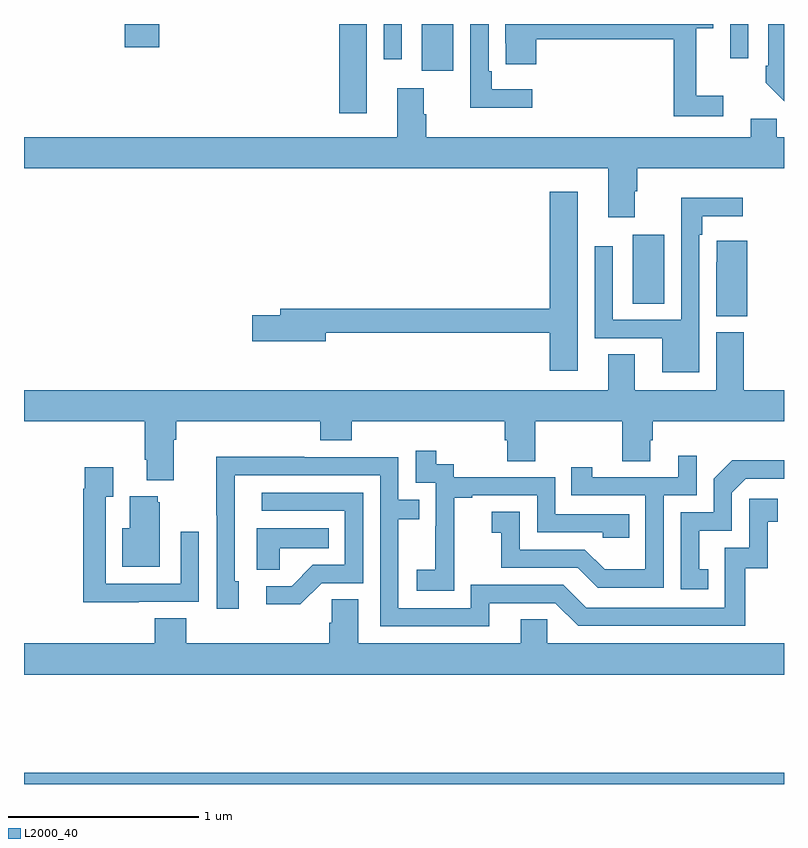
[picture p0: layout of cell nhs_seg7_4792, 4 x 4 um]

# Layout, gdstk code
import gdstk
lib = gdstk.Library(unit=1e-6, precision=1e-09)
def R(c, l, rs):  # rectangles x0, y0, x1, y1
    for r in rs: c.add(gdstk.rectangle(r[:2], r[2:], *l))
def P(c, l, *ps):  # polygons
    for p in ps: c.add(gdstk.Polygon(p, *l))
L2000_40 = (2000, 40)

nhs_seg7_4792 = lib.new_cell('nhs_seg7_4792')
R(nhs_seg7_4792, L2000_40, [(411,1040,415,1040.06), (414.203,1042.528,414.37,1042.891), (412.658,1043.529,412.804,1044), (413.093,1043.754,413.26,1044), (412.893,1043.814,412.989,1044), (414.717,1043.82,414.813,1044), (411.53,1043.877,411.713,1044)])
P(nhs_seg7_4792, L2000_40, [(414.679,1043.623),(414.539,1043.623),(414.539,1043.978),(414.628,1043.978),(414.628,1044),(413.534,1044),(413.534,1043.899),(413.535,1043.899),(413.535,1043.787),(413.696,1043.787),(413.696,1043.92),(414.421,1043.92),(414.421,1043.514),(414.679,1043.514)],
  [(413.674,1043.656),(413.461,1043.656),(413.461,1043.752),(413.445,1043.752),(413.445,1044),(413.349,1044),(413.349,1043.558),(413.674,1043.558)],
  [(415,1044),(414.918,1044),(414.918,1043.779),(414.903,1043.779),(414.903,1043.691),(415,1043.594)],
  [(414.214,1043.12),(414.227,1043.12),(414.227,1043.24),(415,1043.24),(415,1043.404),(414.963,1043.404),(414.963,1043.502),(414.824,1043.502),(414.824,1043.404),(413.117,1043.404),(413.117,1043.525),(413.104,1043.525),(413.104,1043.662),(412.964,1043.662),(412.964,1043.404),(411,1043.404),(411,1043.24),(414.074,1043.24),(414.074,1042.983),(414.214,1042.983)],
  [(413.914,1043.116),(413.768,1043.116),(413.768,1042.502),(412.349,1042.502),(412.349,1042.466),(412.2,1042.466),(412.2,1042.331),(412.588,1042.331),(412.588,1042.374),(413.768,1042.374),(413.768,1042.176),(413.914,1042.176)],
  [(414.555,1042.892),(414.571,1042.892),(414.571,1042.988),(414.784,1042.988),(414.784,1043.086),(414.459,1043.086),(414.459,1042.443),(414.099,1042.443),(414.099,1042.831),(414.003,1042.831),(414.003,1042.347),(414.359,1042.347),(414.359,1042.166),(414.555,1042.166)],
  [(414.806,1042.858),(414.645,1042.858),(414.645,1042.745),(414.644,1042.745),(414.644,1042.462),(414.806,1042.462)],
  [(411.787,1041.812),(411.8,1041.812),(411.8,1041.908),(412.559,1041.908),(412.559,1041.809),(412.724,1041.809),(412.724,1041.908),(413.531,1041.908),(413.531,1041.81),(413.543,1041.81),(413.543,1041.7),(413.691,1041.7),(413.691,1041.908),(414.148,1041.908),(414.148,1041.7),(414.295,1041.7),(414.295,1041.81),(414.308,1041.81),(414.308,1041.908),(415,1041.908),(415,1042.072),(414.788,1042.072),(414.788,1042.377),(414.644,1042.377),(414.644,1042.072),(414.214,1042.072),(414.214,1042.262),(414.074,1042.262),(414.074,1042.072),(411,1042.072),(411,1041.908),(411.635,1041.908),(411.635,1041.706),(411.647,1041.706),(411.647,1041.599),(411.787,1041.599)],
  [(413.265,1041.223),(413.264,1041.223),(413.264,1041.507),(413.359,1041.507),(413.359,1041.519),(413.7,1041.519),(413.7,1041.324),(414.045,1041.324),(414.045,1041.297),(414.185,1041.297),(414.185,1041.42),(413.796,1041.42),(413.796,1041.615),(413.262,1041.615),(413.262,1041.684),(413.17,1041.684),(413.17,1041.754),(413.061,1041.754),(413.061,1041.585),(413.166,1041.585),(413.166,1041.356),(413.165,1041.356),(413.165,1041.127),(413.067,1041.127),(413.067,1041.017),(413.265,1041.017)],
  [(414.366,1041.519),(414.54,1041.519),(414.54,1041.727),(414.443,1041.727),(414.443,1041.615),(413.992,1041.615),(413.992,1041.667),(413.881,1041.667),(413.881,1041.519),(414.27,1041.519),(414.27,1041.13),(414.056,1041.13),(413.952,1041.234),(413.61,1041.234),(413.61,1041.433),(413.463,1041.433),(413.463,1041.323),(413.512,1041.323),(413.512,1041.138),(413.915,1041.138),(414.02,1041.033),(414.366,1041.033)],
  [(413.449,1040.952),(413.796,1040.952),(413.916,1040.832),(414.796,1040.832),(414.796,1041.135),(414.914,1041.135),(414.914,1041.381),(414.967,1041.381),(414.967,1041.502),(414.816,1041.502),(414.816,1041.243),(414.687,1041.243),(414.687,1040.928),(413.958,1040.928),(413.838,1041.048),(413.352,1041.048),(413.352,1040.925),(412.971,1040.925),(412.971,1041.394),(413.081,1041.394),(413.081,1041.495),(412.971,1041.495),(412.971,1041.72),(412.475,1041.72),(412.475,1041.722),(412.012,1041.722),(412.012,1041.415),(412.014,1041.415),(412.014,1040.922),(412.129,1040.922),(412.129,1041.066),(412.11,1041.066),(412.11,1041.624),(412.875,1041.624),(412.875,1040.829),(413.449,1040.829)],
  [(414.602,1041.129),(414.553,1041.129),(414.553,1041.333),(414.726,1041.333),(414.726,1041.534),(414.798,1041.606),(415,1041.606),(415,1041.704),(414.728,1041.704),(414.63,1041.606),(414.63,1041.429),(414.456,1041.429),(414.456,1041.024),(414.602,1041.024)],
  [(411.605,1040.958),(411.921,1040.958),(411.921,1041.328),(411.825,1041.328),(411.825,1041.054),(411.429,1041.054),(411.429,1041.511),(411.469,1041.511),(411.469,1041.667),(411.321,1041.667),(411.321,1041.554),(411.313,1041.554),(411.313,1040.957),(411.605,1040.957)],
  [(412.566,1041.057),(412.785,1041.057),(412.785,1041.534),(412.251,1041.534),(412.251,1041.438),(412.689,1041.438),(412.689,1041.153),(412.52,1041.153),(412.409,1041.042),(412.275,1041.042),(412.275,1040.945),(412.453,1040.945)],
  [(411.715,1041.483),(411.704,1041.483),(411.704,1041.514),(411.557,1041.514),(411.557,1041.346),(411.518,1041.346),(411.518,1041.143),(411.715,1041.143)],
  [(412.347,1041.242),(412.604,1041.242),(412.604,1041.346),(412.226,1041.346),(412.226,1041.127),(412.347,1041.127)],
  [(415,1040.74),(413.754,1040.74),(413.754,1040.867),(413.615,1040.867),(413.615,1040.74),(412.759,1040.74),(412.759,1040.972),(412.62,1040.972),(412.62,1040.849),(412.607,1040.849),(412.607,1040.74),(411.854,1040.74),(411.854,1040.873),(411.689,1040.873),(411.689,1040.74),(411,1040.74),(411,1040.576),(415,1040.576)])

lib.write_gds('nhs_seg7_4792.gds')
